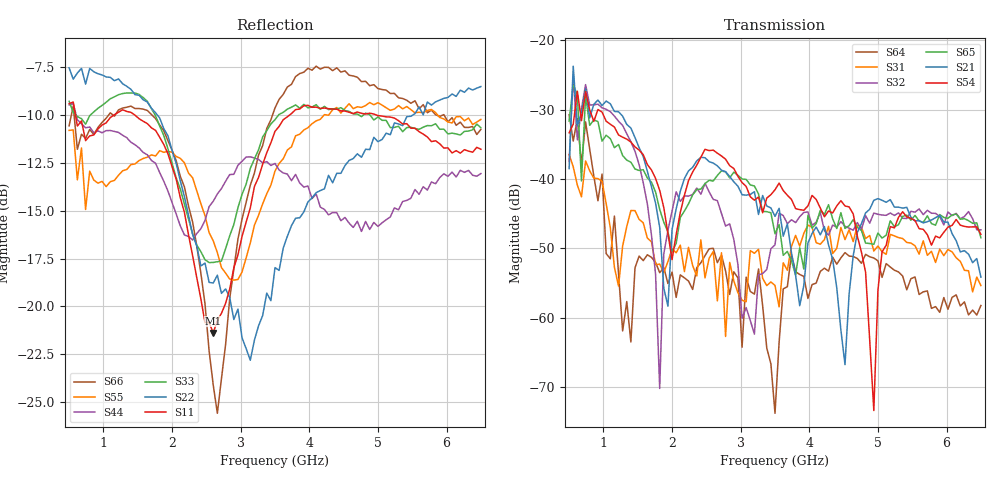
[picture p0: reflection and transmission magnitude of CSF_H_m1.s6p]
!Keysight Technologies,M9804A,MY58100912,A.14.10.03
!Date: Thursday, April 27, 2023 10:28:33
!Correction: S11(C  6-Port  )
!S12(C  6-Port  )
!S13(C  6-Port  )
!S14(C  6-Port  )
!S15(C  6-Port  )
!S16(C  6-Port  )
!S21(C  6-Port  )
!S22(C  6-Port  )
!S23(C  6-Port  )
!S24(C  6-Port  )
!S25(C  6-Port  )
!S26(C  6-Port  )
!S31(C  6-Port  )
!S32(C  6-Port  )
!S33(C  6-Port  )
!S34(C  6-Port  )
!S35(C  6-Port  )
!S36(C  6-Port  )
!S41(C  6-Port  )
!S42(C  6-Port  )
!S43(C  6-Port  )
!S44(C  6-Port  )
!S45(C  6-Port  )
!S46(C  6-Port  )
!S51(C  6-Port  )
!S52(C  6-Port  )
!S53(C  6-Port  )
!S54(C  6-Port  )
!S55(C  6-Port  )
!S56(C  6-Port  )
!S61(C  6-Port  )
!S62(C  6-Port  )
!S63(C  6-Port  )
!S64(C  6-Port  )
!S65(C  6-Port  )
!S66(C  6-Port  )
!S6P File: Measurement: :
# Hz S  RI  R 50
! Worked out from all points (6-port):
!   101 points, 500 MHz to 6.5 GHz, reference 50 ohm
!   strongest paths, dB at 500 MHz, 2 GHz, 3.5 GHz, 5 GHz, 6.5 GHz:
!     S54: -33.3, -51.6, -41.5, -56.0, -48.0
!     S21: -38.5, -47.3, -45.4, -42.8, -54.1
!     S65: -31.6, -50.5, -47.9, -47.8, -48.5
!     S32: -37.5, -44.6, -49.5, -45.1, -47.3
!     S31: -36.5, -50.1, -55.3, -49.7, -55.4
!     S64: -30.7, -53.4, -73.8, -51.8, -58.2
!   lowest |S11| = -21.4 dB at 2.6 GHz (marker M1), VSWR 1.19, Z = 42.5 + j2.26 ohm
!   |S11| at or under -10 dB: 593 MHz to 1.15 GHz (557.1 MHz wide, 63.9 % of centre); 1.461 GHz to 3.709 GHz (2.248 GHz wide, 87 % of centre); 4.985 GHz to end of sweep
